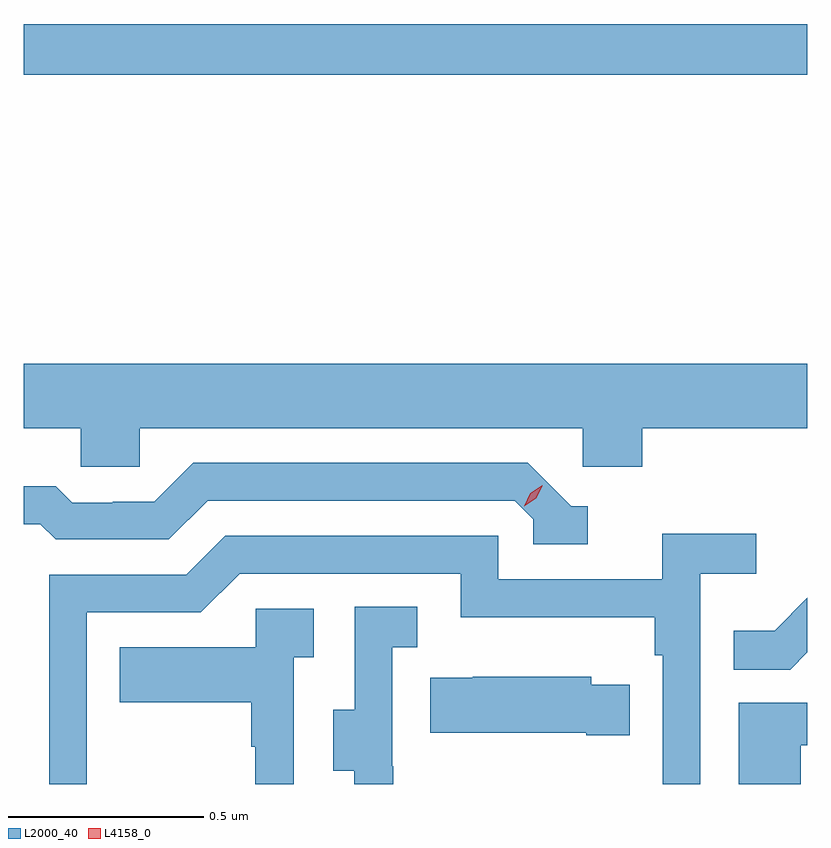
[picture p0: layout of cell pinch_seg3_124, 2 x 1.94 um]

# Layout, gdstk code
import gdstk
lib = gdstk.Library(unit=1e-6, precision=1e-09)
def R(c, l, rs):  # rectangles x0, y0, x1, y1
    for r in rs: c.add(gdstk.rectangle(r[:2], r[2:], *l))
def P(c, l, *ps):  # polygons
    for p in ps: c.add(gdstk.Polygon(p, *l))
L2000_40 = (2000, 40)
L4158_0 = (4158, 0)

pinch_seg3_124 = lib.new_cell('pinch_seg3_124')
R(pinch_seg3_124, L2000_40, [(1073.275,717.802,1075.275,717.931)])
P(pinch_seg3_124, L2000_40, [(1073.571,716.9),(1074.702,716.9),(1074.702,716.802),(1074.854,716.802),(1074.854,716.9),(1075.275,716.9),(1075.275,717.064),(1073.275,717.064),(1073.275,716.9),(1073.421,716.9),(1073.421,716.802),(1073.571,716.802)],
  [(1074.715,716.7),(1074.672,716.7),(1074.561,716.811),(1073.708,716.811),(1073.609,716.712),(1073.502,716.712),(1073.502,716.709),(1073.399,716.709),(1073.357,716.752),(1073.275,716.752),(1073.275,716.655),(1073.318,716.655),(1073.357,716.616),(1073.646,716.616),(1073.745,716.715),(1074.528,716.715),(1074.576,716.667),(1074.576,716.604),(1074.715,716.604)],
  [(1073.436,716.43),(1073.727,716.43),(1073.826,716.529),(1074.39,716.529),(1074.39,716.417),(1074.886,716.417),(1074.886,716.321),(1074.906,716.321),(1074.906,715.992),(1075.002,715.992),(1075.002,716.528),(1075.144,716.528),(1075.144,716.63),(1074.905,716.63),(1074.905,716.514),(1074.486,716.514),(1074.486,716.625),(1073.789,716.625),(1073.69,716.526),(1073.34,716.526),(1073.34,715.992),(1073.436,715.992)],
  [(1075.275,716.328),(1075.275,716.467),(1075.191,716.383),(1075.087,716.383),(1075.087,716.284),(1075.231,716.284)],
  [(1074.218,716.037),(1074.216,716.037),(1074.216,716.341),(1074.28,716.341),(1074.28,716.444),(1074.12,716.444),(1074.12,716.181),(1074.065,716.181),(1074.065,716.026),(1074.119,716.026),(1074.119,715.992),(1074.218,715.992)],
  [(1073.964,716.315),(1074.016,716.315),(1074.016,716.439),(1073.868,716.439),(1073.868,716.341),(1073.521,716.341),(1073.521,716.201),(1073.856,716.201),(1073.856,716.087),(1073.866,716.087),(1073.866,715.992),(1073.964,715.992)],
  [(1074.821,716.245),(1074.723,716.245),(1074.723,716.266),(1074.421,716.266),(1074.421,716.263),(1074.313,716.263),(1074.313,716.123),(1074.71,716.123),(1074.71,716.116),(1074.821,716.116)],
  [(1075.258,716.091),(1075.275,716.091),(1075.275,716.199),(1075.1,716.199),(1075.1,715.992),(1075.258,715.992)])
P(pinch_seg3_124, L4158_0, [(1074.552,716.701),(1074.552,716.701),(1074.568,716.734),(1074.598,716.754),(1074.599,716.754),(1074.599,716.753),(1074.583,716.721),(1074.552,716.701)])

lib.write_gds('pinch_seg3_124.gds')
